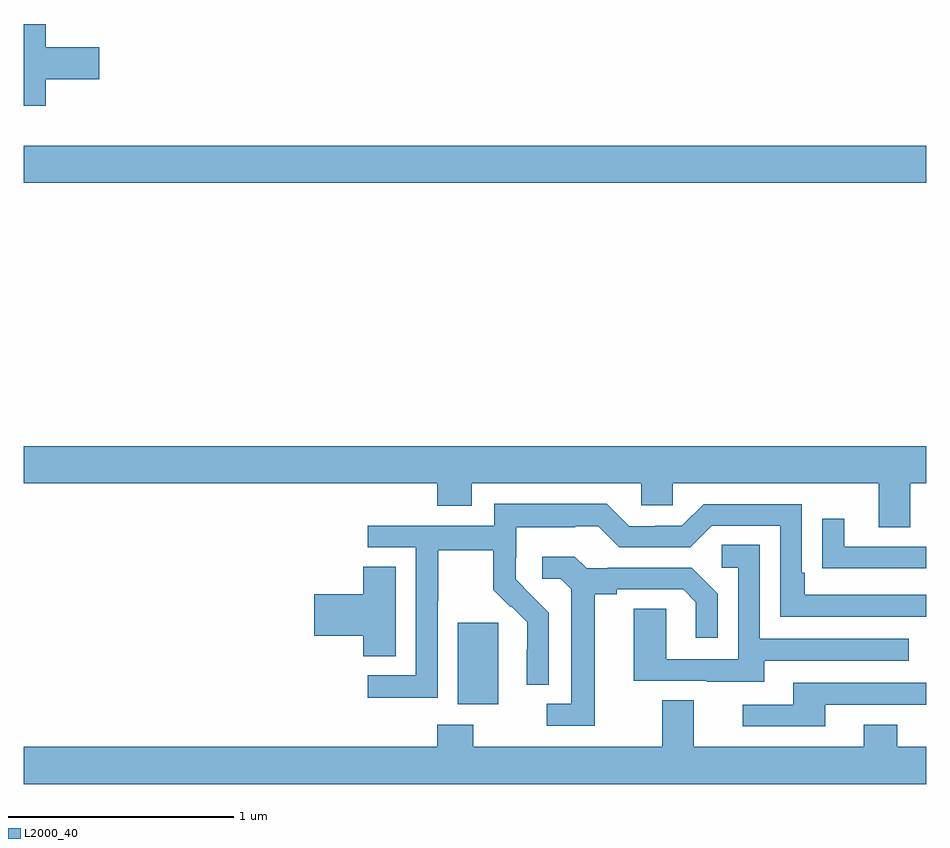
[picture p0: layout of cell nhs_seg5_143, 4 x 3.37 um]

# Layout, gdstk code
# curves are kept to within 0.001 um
import gdstk
lib = gdstk.Library(unit=1e-6, precision=1e-09)
def R(c, l, rs):  # rectangles x0, y0, x1, y1
    for r in rs: c.add(gdstk.rectangle(r[:2], r[2:], *l))
def P(c, l, *ps):  # polygons
    for p in ps: c.add(gdstk.Polygon(p, *l))
L2000_40 = (2000, 40)

nhs_seg5_143 = lib.new_cell('nhs_seg5_143')
R(nhs_seg5_143, L2000_40, [(120.923,851.786,121.102,852.147), (119,854.096,123,854.26)])
P(nhs_seg5_143, L2000_40, [(119.099,854.554),(119.335,854.554),(119.335,854.696),(119.099,854.696),(119.099,854.799),(119,854.799),(119,854.436),(119.099,854.436)],
  [(122.929,852.764),(123,852.764),(123,852.928),(119,852.928),(119,852.764),(120.833,852.764),(120.833,852.665),(120.985,852.665),(120.985,852.764),(121.737,852.764),(121.737,852.666),(121.875,852.666),(121.875,852.764),(122.789,852.764),(122.789,852.57),(122.929,852.57)],
  [(120.834,852.244),(120.837,852.244),(120.837,852.468),(121.081,852.468),(121.081,852.293),(121.158,852.216),(121.161,852.219),(121.232,852.149),(121.232,852.026),(121.23,852.026),(121.23,851.872),(121.326,851.872),(121.326,852.19),(121.18,852.338),(121.18,852.435),(121.182,852.435),(121.182,852.569),(121.445,852.569),(121.445,852.573),(121.545,852.573),(121.638,852.48),(121.953,852.48),(122.049,852.576),(122.352,852.576),(122.352,852.174),(123,852.174),(123,852.27),(122.461,852.27),(122.461,852.367),(122.448,852.367),(122.448,852.672),(122.013,852.672),(121.917,852.576),(121.799,852.576),(121.799,852.573),(121.683,852.573),(121.583,852.673),(121.086,852.673),(121.086,852.576),(120.525,852.576),(120.525,852.48),(120.738,852.48),(120.738,851.913),(120.525,851.913),(120.525,851.815),(120.834,851.815)],
  [(123,852.483),(122.635,852.483),(122.635,852.607),(122.539,852.607),(122.539,852.388),(122.641,852.388),(122.641,852.387),(123,852.387)],
  [(122.281,851.979),(122.921,851.979),(122.921,852.075),(122.262,852.075),(122.262,852.491),(122.094,852.491),(122.094,852.39),(122.166,852.39),(122.166,851.985),(121.848,851.985),(121.848,852.209),(121.703,852.209),(121.703,851.889),(122.027,851.889),(122.027,851.885),(122.281,851.885)],
  [(121.531,852.272),(121.627,852.272),(121.627,852.294),(121.922,852.294),(121.979,852.237),(121.979,852.081),(122.076,852.081),(122.076,852.274),(121.96,852.39),(121.588,852.39),(121.588,852.387),(121.494,852.387),(121.442,852.439),(121.299,852.439),(121.299,852.342),(121.38,852.342),(121.427,852.295),(121.427,851.787),(121.317,851.787),(121.317,851.691),(121.531,851.691)],
  [(120.649,852.395),(120.506,852.395),(120.506,852.272),(120.288,852.272),(120.288,852.089),(120.506,852.089),(120.506,851.998),(120.649,851.998)],
  [(122.551,851.784),(123,851.784),(123,851.88),(122.411,851.88),(122.411,851.784),(122.187,851.784),(122.187,851.688),(122.551,851.688)],
  [(123,851.596),(122.871,851.596),(122.871,851.695),(122.723,851.695),(122.723,851.596),(121.969,851.596),(121.969,851.804),(121.829,851.804),(121.829,851.596),(120.993,851.596),(120.993,851.695),(120.833,851.695),(120.833,851.596),(119,851.596),(119,851.432),(123,851.432)])

lib.write_gds('nhs_seg5_143.gds')
